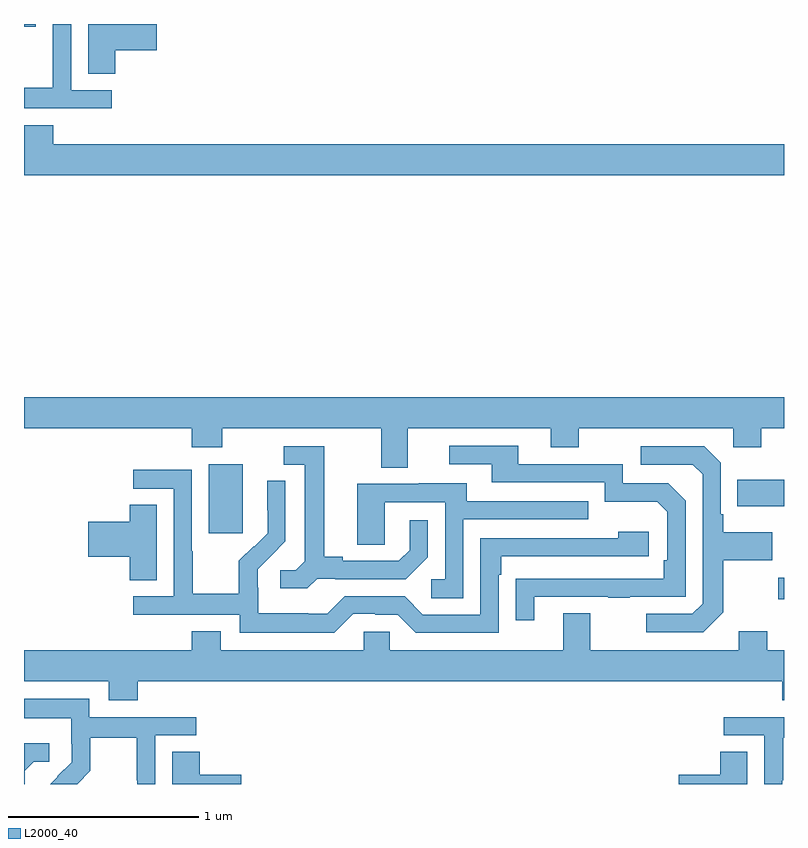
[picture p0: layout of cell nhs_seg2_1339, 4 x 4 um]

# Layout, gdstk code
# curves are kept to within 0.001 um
import gdstk
lib = gdstk.Library(unit=1e-6, precision=1e-09)
def R(c, l, rs):  # rectangles x0, y0, x1, y1
    for r in rs: c.add(gdstk.rectangle(r[:2], r[2:], *l))
def P(c, l, *ps):  # polygons
    for p in ps: c.add(gdstk.Polygon(p, *l))
L2000_40 = (2000, 40)

nhs_seg2_1339 = lib.new_cell('nhs_seg2_1339')
R(nhs_seg2_1339, L2000_40, [(184.971,610.773,185,610.886), (181.973,611.121,182.152,611.482), (184.753,611.261,185,611.401), (181,613.785,181.063,613.8)])
P(nhs_seg2_1339, L2000_40, [(181.481,613.661),(181.699,613.661),(181.699,613.8),(181.337,613.8),(181.337,613.537),(181.481,613.537)],
  [(181.462,613.452),(181.248,613.452),(181.248,613.8),(181.152,613.8),(181.152,613.688),(181.15,613.688),(181.15,613.465),(181,613.465),(181,613.356),(181.462,613.356)],
  [(185,613.168),(181.154,613.168),(181.154,613.267),(181.001,613.267),(181.001,613.168),(181,613.168),(181,613.004),(185,613.004)],
  [(183.019,611.672),(183.773,611.672),(183.773,611.573),(183.921,611.573),(183.921,611.672),(184.734,611.672),(184.734,611.573),(184.881,611.573),(184.881,611.672),(185,611.672),(185,611.836),(181,611.836),(181,611.672),(181.883,611.672),(181.883,611.573),(182.043,611.573),(182.043,611.672),(182.879,611.672),(182.879,611.464),(183.019,611.464)],
  [(183.685,610.785),(184.075,610.785),(184.075,610.78),(184.187,610.78),(184.187,610.785),(184.482,610.785),(184.482,611.292),(184.392,611.382),(184.152,611.382),(184.152,611.484),(183.601,611.484),(183.601,611.58),(183.237,611.58),(183.237,611.484),(183.461,611.484),(183.461,611.388),(184.056,611.388),(184.056,611.285),(184.333,611.285),(184.386,611.232),(184.386,610.978),(184.366,610.978),(184.366,610.881),(183.589,610.88),(183.589,610.662),(183.685,610.662)],
  [(182.544,610.881),(182.638,610.881),(182.638,610.878),(183.01,610.878),(183.126,610.994),(183.126,611.188),(183.029,611.188),(183.029,611.031),(182.972,610.974),(182.677,610.974),(182.677,610.997),(182.581,610.997),(182.581,611.577),(182.367,611.577),(182.367,611.481),(182.477,611.481),(182.477,610.973),(182.43,610.926),(182.349,610.926),(182.349,610.829),(182.492,610.829)],
  [(184.681,610.705),(184.681,610.978),(184.937,610.978),(184.937,611.125),(184.681,611.125),(184.681,611.221),(184.668,611.221),(184.668,611.49),(184.581,611.577),(184.245,611.577),(184.245,611.481),(184.521,611.481),(184.572,611.43),(184.572,610.749),(184.518,610.695),(184.275,610.695),(184.275,610.599),(184.575,610.599)],
  [(182.733,610.695),(182.849,610.695),(182.849,610.692),(182.967,610.692),(183.063,610.596),(183.498,610.596),(183.498,610.901),(183.511,610.901),(183.511,610.998),(184.288,610.998),(184.288,611.128),(184.127,611.128),(184.127,611.094),(183.402,611.094),(183.402,610.692),(183.099,610.692),(183.003,610.788),(182.688,610.788),(182.595,610.695),(182.495,610.695),(182.495,610.699),(182.232,610.699),(182.232,610.833),(182.23,610.833),(182.23,610.93),(182.376,611.078),(182.376,611.396),(182.28,611.396),(182.28,611.242),(182.282,611.242),(182.282,611.12),(182.211,611.049),(182.208,611.052),(182.131,610.975),(182.131,610.801),(181.887,610.801),(181.887,611.024),(181.884,611.024),(181.884,611.454),(181.575,611.454),(181.575,611.355),(181.788,611.355),(181.788,610.788),(181.575,610.788),(181.575,610.692),(182.136,610.692),(182.136,610.595),(182.633,610.595)],
  [(183.312,611.193),(183.971,611.193),(183.971,611.289),(183.331,611.289),(183.331,611.383),(183.077,611.383),(183.077,611.379),(182.753,611.379),(182.753,611.059),(182.898,611.059),(182.898,611.283),(183.216,611.283),(183.216,610.878),(183.144,610.878),(183.144,610.777),(183.312,610.777)],
  [(181.699,611.27),(181.556,611.27),(181.556,611.18),(181.338,611.18),(181.338,610.997),(181.556,610.997),(181.556,610.873),(181.699,610.873)],
  [(181.598,610.34),(184.991,610.34),(184.991,610.241),(185,610.241),(185,610.504),(184.911,610.504),(184.911,610.603),(184.763,610.603),(184.763,610.504),(183.979,610.504),(183.979,610.699),(183.839,610.699),(183.839,610.504),(182.925,610.504),(182.925,610.602),(182.787,610.602),(182.787,610.504),(182.035,610.504),(182.035,610.603),(181.883,610.603),(181.883,610.504),(181,610.504),(181,610.34),(181.445,610.34),(181.445,610.241),(181.598,610.241)],
  [(181.349,609.869),(181.349,610.044),(181.594,610.044),(181.594,609.82),(181.596,609.82),(181.596,609.8),(181.692,609.8),(181.692,610.056),(181.906,610.056),(181.906,610.152),(181.344,610.152),(181.344,610.249),(181,610.249),(181,610.145),(181.248,610.145),(181.248,610.011),(181.25,610.011),(181.25,609.914),(181.138,609.8),(181.28,609.8)],
  [(184.992,609.82),(184.995,609.82),(184.995,610.044),(185,610.044),(185,610.152),(184.683,610.152),(184.683,610.056),(184.896,610.056),(184.896,609.8),(184.992,609.8)],
  [(181.003,609.871),(181.05,609.918),(181.132,609.918),(181.132,610.015),(181,610.015),(181,609.8),(181.003,609.8)],
  [(182.143,609.848),(181.925,609.848),(181.925,609.971),(181.781,609.971),(181.781,609.8),(182.143,609.8)],
  [(184.807,609.971),(184.664,609.971),(184.664,609.848),(184.446,609.848),(184.446,609.8),(184.807,609.8)])

lib.write_gds('nhs_seg2_1339.gds')
